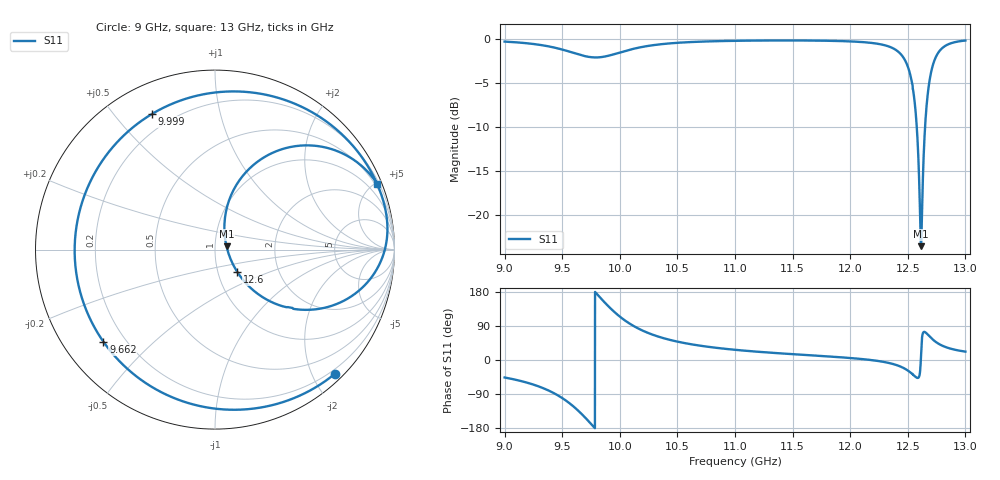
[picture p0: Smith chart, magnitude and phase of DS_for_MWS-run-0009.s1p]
! TOUCHSTONE file generated by CST DESIGN STUDIO
! Date and time: Tue Feb  4 17:24:17 2025
! Project name: C:\Work\MatlabApps\UnitCellOptimizationMatlab\CST\unitcell.cst
! Tree item: Tasks\Sweep1\SPara1\S-Parameters
! Header version: 2024
! Port assignment regex: !\s*Touchstone port\s*([0-9]+)\s*=\s*(CST MWS port|CST DES external port|CST DES block port)\s*(.+)\s* \(\"(.*)\"\)(\s*mode\s*([0-9]+))?.*
! Touchstone port assignment:
! Touchstone port 1 = CST DES external port 1 ("")
# GHz S MA R 50
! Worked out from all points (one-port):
!   4001 points, 9 GHz to 13 GHz, reference 50 ohm
!   lowest |S11| = -23.5 dB at 12.62 GHz (marker M1), VSWR 1.14, Z = 56.8 + j1.98 ohm
!   |S11| at or under -10 dB: 12.58 GHz to 12.65 GHz (72.17 MHz wide, 0.572 % of centre)
!   S11 on the Smith chart (normalised r, x): 9 GHz: 0.13, -2.34; 9.662 GHz: 0.12, -0.35; 9.999 GHz: 0.13, +0.63; 12.6 GHz: 1.24, -0.32; 13 GHz: 0.34, +5.10
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9  0.9615 -46.1
9.271  0.9283 -67.0
9.5  0.8669 -100.4
9.583  0.8355 -118.9
9.662  0.8062 -140.5
9.743  0.7856 -166.2
9.817  0.7829 168.9
9.912  0.8028 138.4
9.999  0.8335 114.8
10  0.8338 114.6
10.104  0.8707 92.6
10.238  0.9072 72.3
10.5  0.9466 48.5
11  0.9715 26.9
11.5  0.976 15.4
12  0.9641 5.3
12.346  0.8968 -8.5
12.434  0.8232 -17.0
12.5  0.6943 -27.7
12.56  0.4344 -42.6
12.58  0.3002 -47.0
12.596  0.1778 -45.2
12.615  0.06657 15.1
12.627  0.1291 66.1
12.664  0.4223 70.1
12.715  0.6975 54.5
12.825  0.9093 34.5
13  0.9753 22.1
